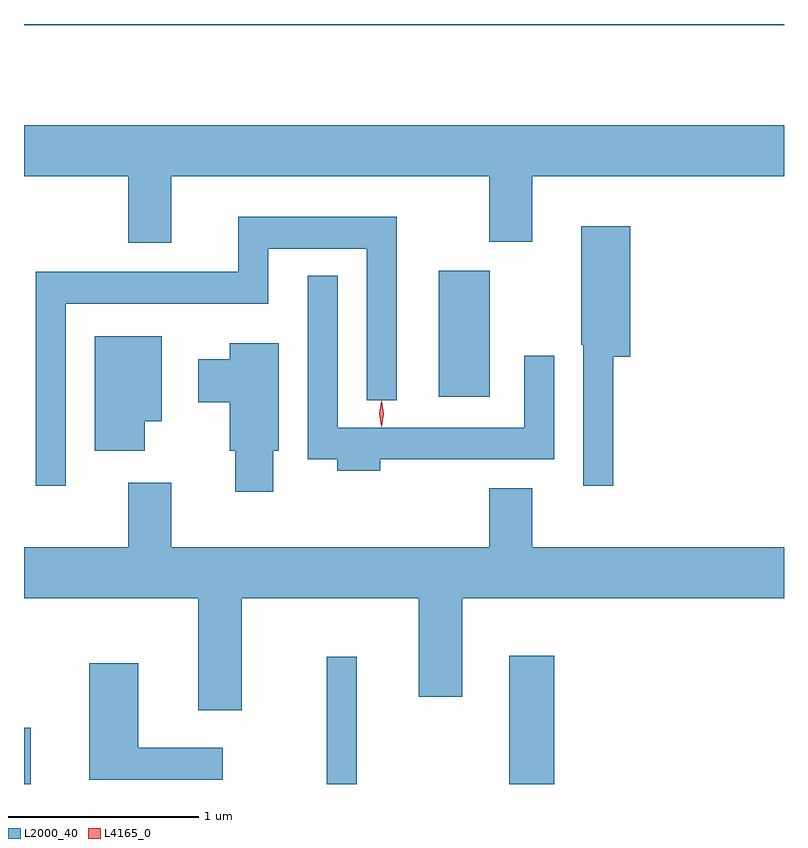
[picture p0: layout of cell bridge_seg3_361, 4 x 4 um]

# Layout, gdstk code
import gdstk
lib = gdstk.Library(unit=1e-6, precision=1e-09)
def R(c, l, rs):  # rectangles x0, y0, x1, y1
    for r in rs: c.add(gdstk.rectangle(r[:2], r[2:], *l))
def P(c, l, *ps):  # polygons
    for p in ps: c.add(gdstk.Polygon(p, *l))
L2000_40 = (2000, 40)
L4165_0 = (4165, 0)

bridge_seg3_361 = lib.new_cell('bridge_seg3_361')
R(bridge_seg3_361, L2000_40, [(696.293,1120.598,696.329,1120.894), (697.886,1120.598,698.044,1121.268), (698.846,1120.598,699.084,1121.274), (698.476,1122.636,698.744,1123.299), (696.293,1124.591,700.293,1124.598)])
P(bridge_seg3_361, L2000_40, [(697.069,1123.796),(698.741,1123.796),(698.741,1123.451),(698.969,1123.451),(698.969,1123.796),(700.293,1123.796),(700.293,1124.064),(696.293,1124.064),(696.293,1123.796),(696.841,1123.796),(696.841,1123.446),(697.069,1123.446)],
  [(696.514,1123.126),(697.579,1123.126),(697.579,1123.416),(698.096,1123.416),(698.096,1122.618),(698.254,1122.618),(698.254,1123.584),(697.421,1123.584),(697.421,1123.294),(696.356,1123.294),(696.356,1122.168),(696.514,1122.168)],
  [(699.394,1122.846),(699.484,1122.846),(699.484,1123.534),(699.226,1123.534),(699.226,1122.91),(699.236,1122.91),(699.236,1122.168),(699.394,1122.168)],
  [(698.169,1122.306),(699.084,1122.306),(699.084,1122.853),(698.926,1122.853),(698.926,1122.474),(697.944,1122.474),(697.944,1123.273),(697.786,1123.273),(697.786,1122.306),(697.941,1122.306),(697.941,1122.246),(698.169,1122.246)],
  [(696.929,1122.506),(697.019,1122.506),(697.019,1122.954),(696.666,1122.954),(696.666,1122.351),(696.929,1122.351)],
  [(697.604,1122.351),(697.634,1122.351),(697.634,1122.919),(697.376,1122.919),(697.376,1122.834),(697.211,1122.834),(697.211,1122.606),(697.376,1122.606),(697.376,1122.351),(697.406,1122.351),(697.406,1122.136),(697.604,1122.136)],
  [(697.439,1121.576),(698.371,1121.576),(698.371,1121.056),(698.599,1121.056),(698.599,1121.576),(700.293,1121.576),(700.293,1121.844),(698.969,1121.844),(698.969,1122.154),(698.741,1122.154),(698.741,1121.844),(697.069,1121.844),(697.069,1122.184),(696.841,1122.184),(696.841,1121.844),(696.293,1121.844),(696.293,1121.576),(697.211,1121.576),(697.211,1120.986),(697.439,1120.986)],
  [(697.338,1120.789),(696.894,1120.789),(696.894,1121.234),(696.636,1121.234),(696.636,1120.621),(697.338,1120.621)])
P(bridge_seg3_361, L4165_0, [(698.174,1122.479),(698.174,1122.48),(698.164,1122.546),(698.174,1122.612),(698.174,1122.613),(698.175,1122.612),(698.184,1122.546),(698.175,1122.48)],
  [(698.175,1122.477),(698.166,1122.547),(698.175,1122.616),(698.176,1122.616),(698.176,1122.616),(698.186,1122.547),(698.176,1122.477),(698.176,1122.477)])

lib.write_gds('bridge_seg3_361.gds')
